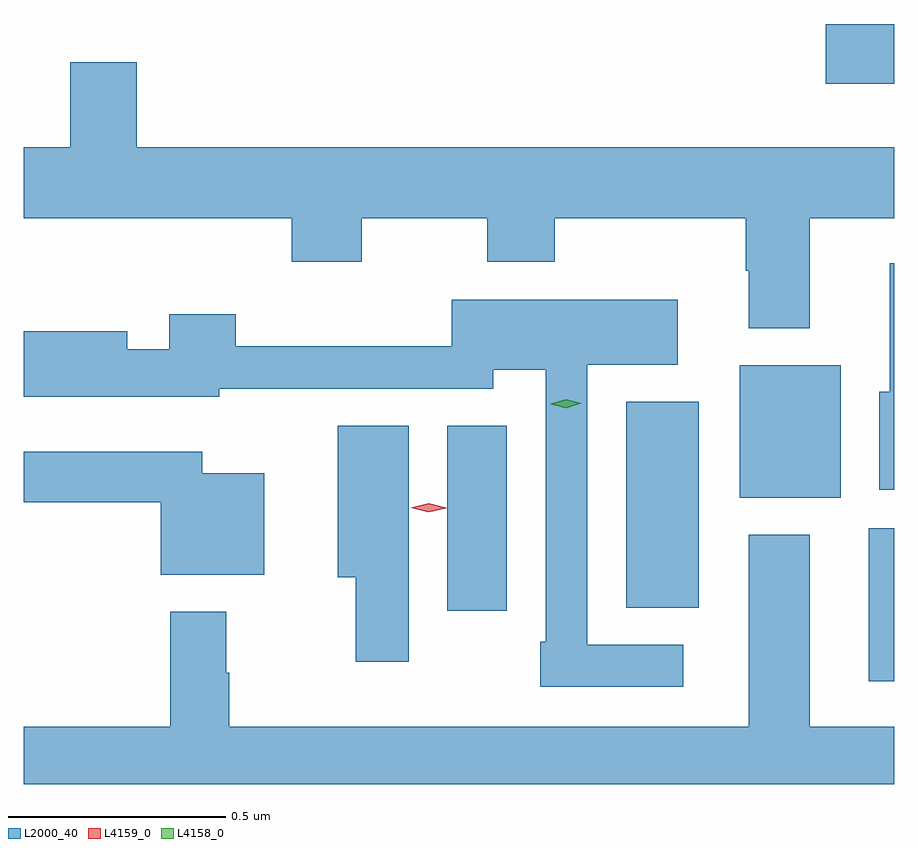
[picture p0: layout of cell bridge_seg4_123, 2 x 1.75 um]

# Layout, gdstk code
import gdstk
lib = gdstk.Library(unit=1e-6, precision=1e-09)
def R(c, l, rs):  # rectangles x0, y0, x1, y1
    for r in rs: c.add(gdstk.rectangle(r[:2], r[2:], *l))
def P(c, l, *ps):  # polygons
    for p in ps: c.add(gdstk.Polygon(p, *l))
L2000_40 = (2000, 40)
L4158_0 = (4158, 0)
L4159_0 = (4159, 0)

bridge_seg4_123 = lib.new_cell('bridge_seg4_123')
R(bridge_seg4_123, L2000_40, [(224.705,749.136,224.763,749.488), (223.736,749.298,223.873,749.723), (224.147,749.305,224.314,749.779), (224.408,749.558,224.641,749.863), (224.606,750.51,224.763,750.647)])
P(bridge_seg4_123, L2000_40, [(224.569,750.2),(224.763,750.2),(224.763,750.364),(223.022,750.364),(223.022,750.559),(222.869,750.559),(222.869,750.364),(222.763,750.364),(222.763,750.2),(223.379,750.2),(223.379,750.101),(223.539,750.101),(223.539,750.2),(223.828,750.2),(223.828,750.101),(223.983,750.101),(223.983,750.2),(224.422,750.2),(224.422,750.08),(224.429,750.08),(224.429,749.948),(224.569,749.948)],
  [(224.763,750.097),(224.753,750.097),(224.753,749.802),(224.729,749.802),(224.729,749.576),(224.763,749.576)],
  [(224.278,749.22),(224.058,749.22),(224.058,749.864),(224.266,749.864),(224.266,750.013),(223.746,750.013),(223.746,749.906),(223.25,749.906),(223.25,749.98),(223.097,749.98),(223.097,749.899),(223,749.899),(223,749.941),(222.763,749.941),(222.763,749.79),(223.212,749.79),(223.212,749.808),(223.842,749.808),(223.842,749.852),(223.962,749.852),(223.962,749.227),(223.95,749.227),(223.95,749.124),(224.278,749.124)],
  [(223.648,749.723),(223.484,749.723),(223.484,749.375),(223.526,749.375),(223.526,749.181),(223.648,749.181)],
  [(223.315,749.614),(223.173,749.614),(223.173,749.664),(222.763,749.664),(222.763,749.548),(223.077,749.548),(223.077,749.381),(223.315,749.381)],
  [(224.763,749.032),(224.569,749.032),(224.569,749.473),(224.429,749.473),(224.429,749.032),(223.235,749.032),(223.235,749.156),(223.228,749.156),(223.228,749.296),(223.099,749.296),(223.099,749.032),(222.763,749.032),(222.763,748.9),(224.763,748.9)])
P(bridge_seg4_123, L4158_0, [(224.009,749.764),(223.974,749.773),(223.974,749.774),(223.974,749.774),(224.009,749.784),(224.044,749.775),(224.044,749.775),(224.044,749.775)])
P(bridge_seg4_123, L4159_0, [(223.693,749.525),(223.652,749.535),(223.652,749.535),(223.652,749.535),(223.693,749.545),(223.734,749.535),(223.734,749.534),(223.734,749.534)])

lib.write_gds('bridge_seg4_123.gds')
